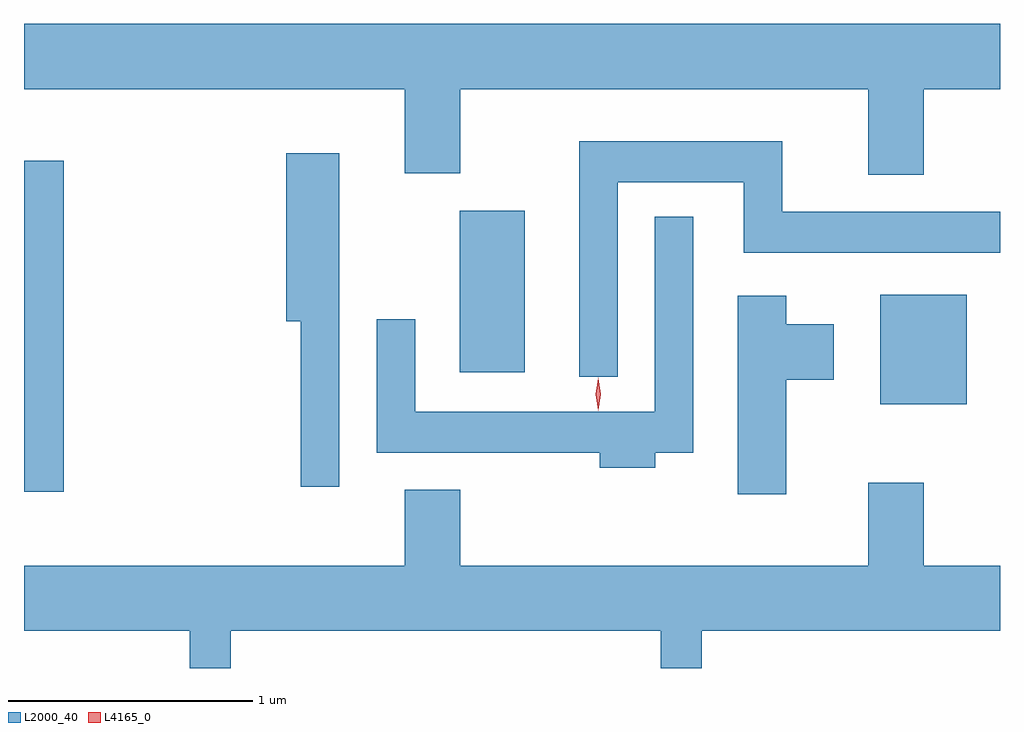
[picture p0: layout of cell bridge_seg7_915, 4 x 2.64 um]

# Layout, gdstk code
import gdstk
lib = gdstk.Library(unit=1e-6, precision=1e-09)
def R(c, l, rs):  # rectangles x0, y0, x1, y1
    for r in rs: c.add(gdstk.rectangle(r[:2], r[2:], *l))
def P(c, l, *ps):  # polygons
    for p in ps: c.add(gdstk.Polygon(p, *l))
L2000_40 = (2000, 40)
L4165_0 = (4165, 0)

bridge_seg7_915 = lib.new_cell('bridge_seg7_915')
R(bridge_seg7_915, L2000_40, [(589.771,1730.426,589.934,1731.784), (593.281,1730.786,593.634,1731.234), (591.556,1730.916,591.824,1731.579)])
P(bridge_seg7_915, L2000_40, [(593.459,1732.076),(593.771,1732.076),(593.771,1732.344),(589.771,1732.344),(589.771,1732.076),(591.331,1732.076),(591.331,1731.731),(591.559,1731.731),(591.559,1732.076),(593.231,1732.076),(593.231,1731.726),(593.459,1731.726)],
  [(592.204,1731.696),(592.721,1731.696),(592.721,1731.406),(593.771,1731.406),(593.771,1731.574),(592.879,1731.574),(592.879,1731.864),(592.046,1731.864),(592.046,1730.898),(592.204,1730.898)],
  [(591.064,1731.814),(590.846,1731.814),(590.846,1731.126),(590.906,1731.126),(590.906,1730.448),(591.064,1730.448)],
  [(592.359,1730.586),(592.514,1730.586),(592.514,1731.553),(592.356,1731.553),(592.356,1730.754),(591.374,1730.754),(591.374,1731.133),(591.216,1731.133),(591.216,1730.586),(592.131,1730.586),(592.131,1730.526),(592.359,1730.526)],
  [(592.894,1730.886),(593.089,1730.886),(593.089,1731.114),(592.894,1731.114),(592.894,1731.229),(592.696,1731.229),(592.696,1730.416),(592.894,1730.416)],
  [(590.619,1729.856),(592.381,1729.856),(592.381,1729.704),(592.549,1729.704),(592.549,1729.856),(593.771,1729.856),(593.771,1730.124),(593.459,1730.124),(593.459,1730.464),(593.231,1730.464),(593.231,1730.124),(591.559,1730.124),(591.559,1730.434),(591.331,1730.434),(591.331,1730.124),(589.771,1730.124),(589.771,1729.856),(590.451,1729.856),(590.451,1729.704),(590.619,1729.704)])
P(bridge_seg7_915, L4165_0, [(592.125,1730.759),(592.124,1730.76),(592.115,1730.826),(592.124,1730.892),(592.125,1730.893),(592.125,1730.892),(592.135,1730.826),(592.125,1730.76)])

lib.write_gds('bridge_seg7_915.gds')
